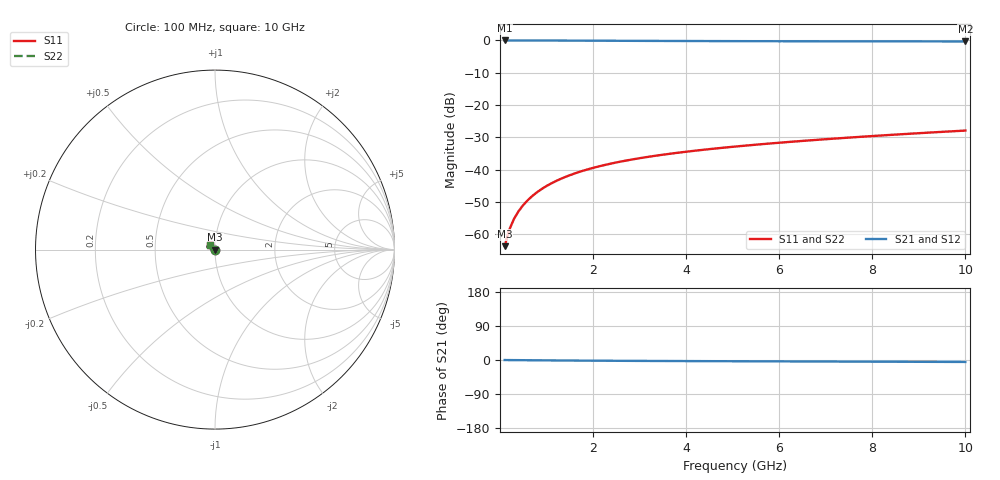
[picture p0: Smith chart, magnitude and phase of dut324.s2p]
! Touchstone file exported from HFSS 2024.1.0
!  File:  C:/UserFiles/LocalFiles/RDL_TSV_Batchsim/temp_TSV1_324_1779617107.aedt
!  Generated:  06:11:53 PM May 24, 2026
!  Design:  TSV1
!  Project:  temp_TSV1_324_1779617107
!  Setup:  Setup1
!  Solution:  Sweep
! Variables:
!  dtsv = 6.33um
!  hbump = 3um
!  htsv = 72.81um
!  lrdl = 252.1521522um
!  p = 40
!  p1 = 58.47um
!  t = 500um
!  trdl = 3um
!  wrdl = 24.89489489um
# GHz S MA R 50.000000
! Terminal data exported
! Port[1] = TSV22_T1
! Port[2] = TSV22_T2
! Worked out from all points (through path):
!   100 points, 100 MHz to 10 GHz, reference 50 ohm
!   highest |S21| = 0.00 dB at 100 MHz (marker M1); lowest = -0.3 dB at 10 GHz (marker M2)
!   lowest |S11| = -63.7 dB at 100 MHz (marker M3), VSWR 1.00, Z = 50 - j0.0579 ohm
!   |S11| at or under -10 dB: start of sweep to end of sweep
!   |S22| runs from -63.7 to -27.9 dB; largest |S21 - S12| = 2.6e-15
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0.1  0.0006555 -62.0  0.9996 -0.1  0.9996 -0.1  0.0006555 -62.0
! Gamma 0 0 0 0
! Port Impedance 50 0 50 0
0.2  0.001176 -78.9  0.9995 -0.2  0.9995 -0.2  0.001176 -78.9
0.3  0.001723 -86.9  0.9994 -0.3  0.9994 -0.3  0.001723 -86.9
0.4  0.002278 -92.3  0.9992 -0.4  0.9992 -0.4  0.002278 -92.3
0.5  0.002834 -96.6  0.999 -0.5  0.999 -0.5  0.002834 -96.6
0.6  0.003391 -100.3  0.9987 -0.6  0.9987 -0.6  0.003391 -100.3
0.7  0.003945 -103.7  0.9983 -0.7  0.9983 -0.7  0.003945 -103.7
0.8  0.004497 -106.8  0.9979 -0.8  0.9979 -0.8  0.004497 -106.8
0.9  0.005044 -109.8  0.9975 -0.9  0.9975 -0.9  0.005044 -109.8
1.1  0.006125 -115.4  0.9966 -1.1  0.9966 -1.1  0.006125 -115.4
1.4  0.0077 -123.2  0.995 -1.3  0.995 -1.3  0.0077 -123.2
1.6  0.008716 -128.1  0.9938 -1.5  0.9938 -1.5  0.008716 -128.1
1.8  0.009703 -132.8  0.9926 -1.6  0.9926 -1.6  0.009703 -132.8
2.1  0.01113 -139.4  0.9907 -1.9  0.9907 -1.9  0.01113 -139.4
2.5  0.01294 -147.7  0.9881 -2.1  0.9881 -2.1  0.01294 -147.7
2.9  0.01464 -155.3  0.9856 -2.3  0.9856 -2.3  0.01464 -155.3
3.4  0.01666 -163.9  0.9828 -2.6  0.9828 -2.6  0.01666 -163.9
4.2  0.0197 -176.0  0.9788 -2.9  0.9788 -2.9  0.01971 -176.0
5.1  0.02296 172.8  0.9752 -3.3  0.9752 -3.3  0.02296 172.8
6.7  0.02858 157.2  0.9708 -3.9  0.9708 -3.9  0.02858 157.2
8.4  0.03457 145.1  0.9676 -4.6  0.9676 -4.6  0.03457 145.1
10  0.04031 136.5  0.9654 -5.2  0.9654 -5.2  0.04031 136.5
